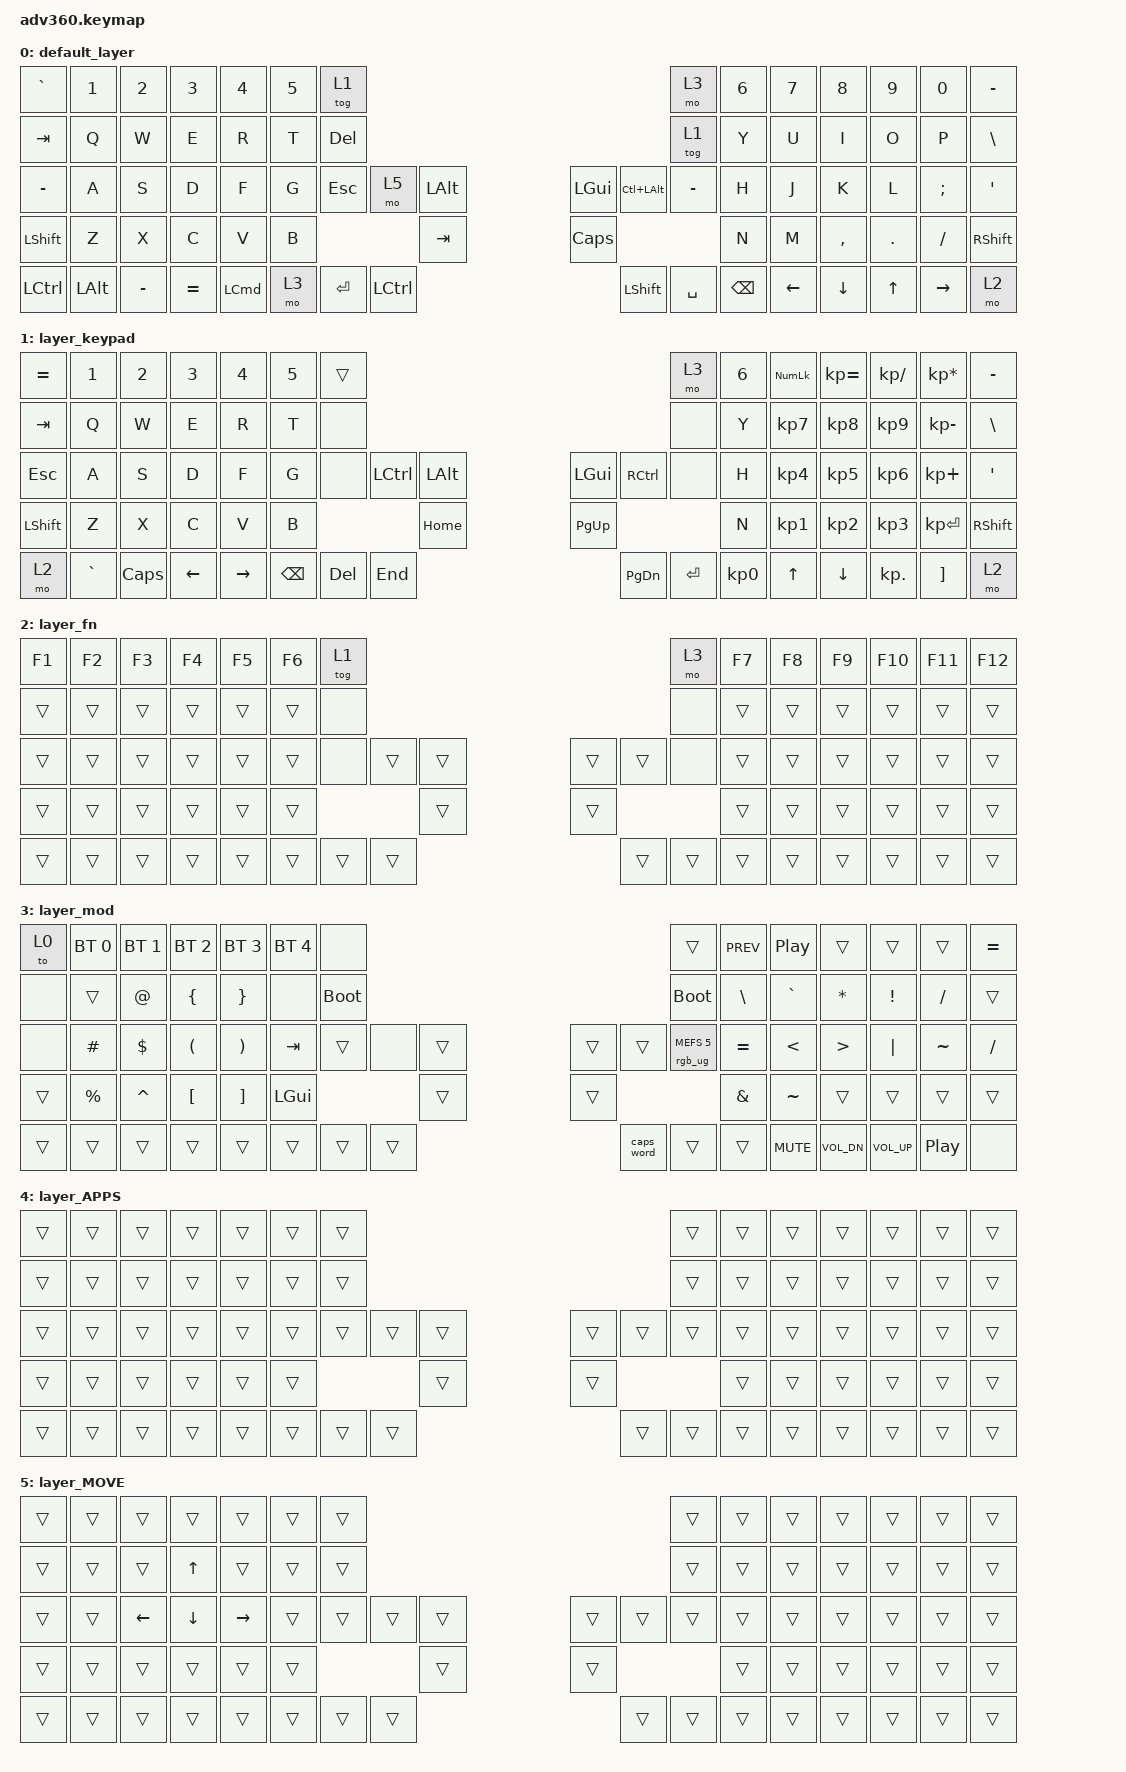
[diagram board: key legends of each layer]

/*
 * Copyright (c) 2020 The ZMK Contributors
 *
 * SPDX-License-Identifier: MIT
 */


/* THIS FILE WAS GENERATED!
 *
 * This file was generated automatically. You may or may not want to
 * edit it directly.
 */

#include <behaviors.dtsi>
#include <dt-bindings/zmk/keys.h>
#include <dt-bindings/zmk/bt.h>
#include <dt-bindings/zmk/rgb.h>

/ {
  behaviors {
    #include "macros.dtsi"
    #include "version.dtsi"

    hm: homerow_mods {
        compatible = "zmk,behavior-hold-tap";
        label = "HOMEROW_MODS";
        #binding-cells = <2>;
        tapping-term-ms = <200>;
        quick_tap_ms = <175>;
        flavor = "tap-preferred";
        bindings = <&kp>, <&kp>;
    };
  };

    keymap {
        compatible = "zmk,keymap";


        default_layer {
            bindings = <
 &kp GRAVE        &kp N1     &kp N2     &kp N3    &kp N4  &kp N5             &tog 1                                                                             &mo 3  &kp N6    &kp N7     &kp N8   &kp N9     &kp N0  &kp MINUS
   &kp TAB         &kp Q      &kp W      &kp E     &kp R   &kp T            &kp DEL                                                                            &tog 1   &kp Y     &kp U      &kp I    &kp O      &kp P   &kp BSLH
 &kp MINUS         &kp A      &kp S      &kp D     &kp F   &kp G            &kp ESC      &mo 5   &kp LALT                   &kp LGUI  &kp LC(LEFT_ALT)      &kp MINUS   &kp H     &kp J      &kp K    &kp L   &kp SEMI    &kp SQT
 &kp LSHFT         &kp Z      &kp X      &kp C     &kp V   &kp B                                  &kp TAB                   &kp CAPS                                    &kp N     &kp M  &kp COMMA  &kp DOT   &kp FSLH  &kp RSHFT
 &kp LCTRL  &kp LEFT_ALT  &kp MINUS  &kp EQUAL  &kp LCMD                      &mo 3  &kp ENTER  &kp LCTRL                  &kp LSHFT         &kp SPACE  &kp BACKSPACE          &kp LEFT   &kp DOWN   &kp UP  &kp RIGHT      &mo 2
            >;
        };

        layer_keypad {
            bindings = <
 &kp EQUAL     &kp N1    &kp N2    &kp N3     &kp N4  &kp N5              &trans                                                                 &mo 3  &kp N6  &kp KP_NUM  &kp KP_EQUAL  &kp KP_DIVIDE  &kp KP_MULTIPLY  &kp MINUS
   &kp TAB      &kp Q     &kp W     &kp E      &kp R   &kp T               &none                                                                 &none   &kp Y   &kp KP_N7     &kp KP_N8      &kp KP_N9     &kp KP_MINUS   &kp BSLH
   &kp ESC      &kp A     &kp S     &kp D      &kp F   &kp G               &none  &kp LCTRL  &kp LALT                   &kp LGUI  &kp RCTRL      &none   &kp H   &kp KP_N4     &kp KP_N5      &kp KP_N6      &kp KP_PLUS    &kp SQT
 &kp LSHFT      &kp Z     &kp X     &kp C      &kp V   &kp B                                 &kp HOME                  &kp PG_UP                         &kp N   &kp KP_N1     &kp KP_N2      &kp KP_N3     &kp KP_ENTER  &kp RSHFT
     &mo 2  &kp GRAVE  &kp CAPS  &kp LEFT  &kp RIGHT                    &kp BSPC    &kp DEL   &kp END                  &kp PG_DN  &kp ENTER  &kp KP_N0              &kp UP      &kp DOWN     &kp KP_DOT         &kp RBKT      &mo 2
            >;
        };

        layer_fn {
            bindings = <
 &kp F1  &kp F2  &kp F3  &kp F4  &kp F5  &kp F6            &tog 1                                                   &mo 3  &kp F7  &kp F8  &kp F9  &kp F10  &kp F11  &kp F12
 &trans  &trans  &trans  &trans  &trans  &trans             &none                                                   &none  &trans  &trans  &trans   &trans   &trans   &trans
 &trans  &trans  &trans  &trans  &trans  &trans             &none  &trans  &trans                  &trans  &trans   &none  &trans  &trans  &trans   &trans   &trans   &trans
 &trans  &trans  &trans  &trans  &trans  &trans                            &trans                  &trans                  &trans  &trans  &trans   &trans   &trans   &trans
 &trans  &trans  &trans  &trans  &trans                    &trans  &trans  &trans                  &trans  &trans  &trans          &trans  &trans   &trans   &trans   &trans
            >;
        };

        layer_mod {
            bindings = <
  &to 0  &bt BT_SEL 0  &bt BT_SEL 1  &bt BT_SEL 2  &bt BT_SEL 3  &bt BT_SEL 4                  &none                                                                      &trans  &kp C_PREV  &kp C_PLAY_PAUSE        &trans        &trans            &trans  &kp EQUAL
  &none        &trans        &kp AT      &kp LBRC      &kp RBRC         &none            &bootloader                                                                 &bootloader    &kp BSLH         &kp GRAVE      &kp STAR      &kp EXCL          &kp FSLH     &trans
  &none      &kp HASH    &kp DOLLAR      &kp LPAR      &kp RPAR       &kp TAB                 &trans   &none  &trans                      &trans  &trans  &rgb_ug RGB_MEFS_CMD 5   &kp EQUAL            &kp LT        &kp GT      &kp PIPE         &kp TILDE   &kp FSLH
 &trans   &kp PERCENT     &kp CARET      &kp LBKT      &kp RBKT      &kp LGUI                                 &trans                      &trans                                    &kp AMPS         &kp TILDE        &trans        &trans            &trans     &trans
 &trans        &trans        &trans        &trans        &trans                               &trans  &trans  &trans                  &caps_word  &trans                  &trans                    &kp C_MUTE  &kp C_VOL_DN  &kp C_VOL_UP  &kp C_PLAY_PAUSE      &none
            >;
        };

        layer_APPS {
            bindings = <
 &trans  &trans  &trans  &trans  &trans  &trans            &trans                                                  &trans  &trans  &trans  &trans  &trans  &trans  &trans
 &trans  &trans  &trans  &trans  &trans  &trans            &trans                                                  &trans  &trans  &trans  &trans  &trans  &trans  &trans
 &trans  &trans  &trans  &trans  &trans  &trans            &trans  &trans  &trans                  &trans  &trans  &trans  &trans  &trans  &trans  &trans  &trans  &trans
 &trans  &trans  &trans  &trans  &trans  &trans                            &trans                  &trans                  &trans  &trans  &trans  &trans  &trans  &trans
 &trans  &trans  &trans  &trans  &trans                    &trans  &trans  &trans                  &trans  &trans  &trans          &trans  &trans  &trans  &trans  &trans
            >;
        };

        layer_MOVE {
            bindings = <
 &trans  &trans          &trans        &trans           &trans  &trans            &trans                                                  &trans  &trans  &trans  &trans  &trans  &trans  &trans
 &trans  &trans          &trans  &kp UP_ARROW           &trans  &trans            &trans                                                  &trans  &trans  &trans  &trans  &trans  &trans  &trans
 &trans  &trans  &kp LEFT_ARROW      &kp DOWN  &kp RIGHT_ARROW  &trans            &trans  &trans  &trans                  &trans  &trans  &trans  &trans  &trans  &trans  &trans  &trans  &trans
 &trans  &trans          &trans        &trans           &trans  &trans                            &trans                  &trans                  &trans  &trans  &trans  &trans  &trans  &trans
 &trans  &trans          &trans        &trans           &trans                    &trans  &trans  &trans                  &trans  &trans  &trans          &trans  &trans  &trans  &trans  &trans
            >;
        };

    };
};
